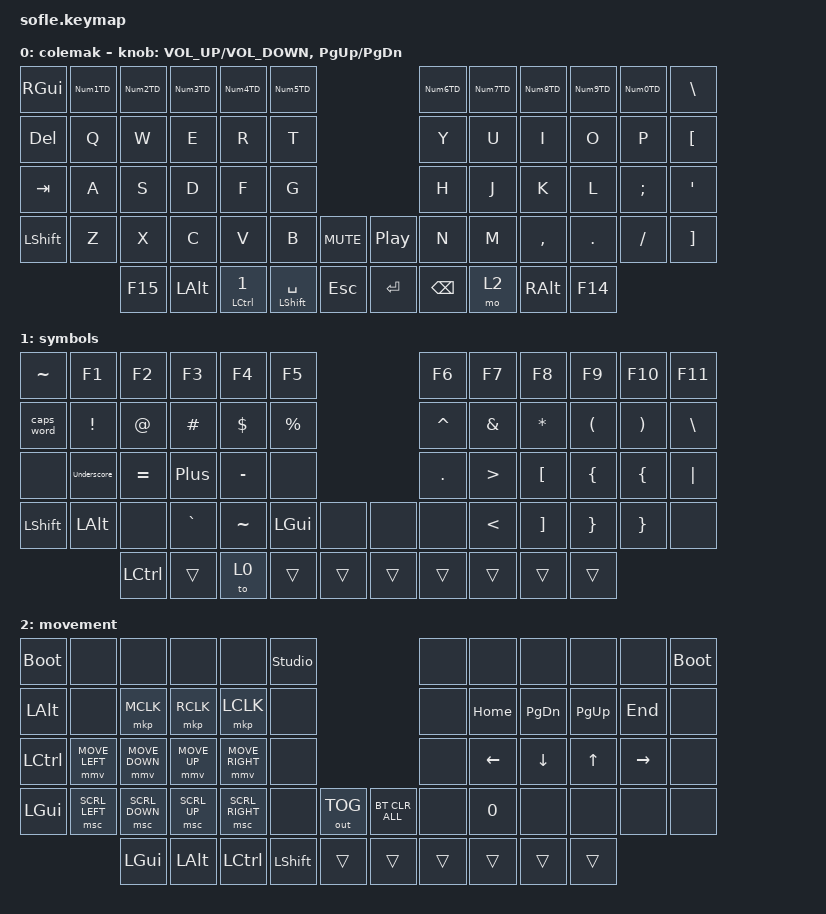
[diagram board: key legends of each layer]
/*
 * Copyright (c) 2020 The ZMK Contributors
 *
 * SPDX-License-Identifier: MIT
 */

#include <behaviors/mouse_keys.dtsi>
#include <behaviors/mouse_move.dtsi>
#include <behaviors/mouse_scroll.dtsi>
#include <behaviors/mouse_key_press.dtsi>
#include <dt-bindings/zmk/mouse.h>
#include <behaviors.dtsi>
#include <dt-bindings/zmk/bt.h>
#include <dt-bindings/zmk/keys.h>
#include <dt-bindings/zmk/outputs.h>
#include <dt-bindings/zmk/pointing.h>
#include <dt-bindings/zmk/pointing.h>
#include <dt-bindings/zmk/pointing.h>

/ {
    behaviors {
        MomentStickyLayer: MomentStickyLayer {
            compatible = "zmk,behavior-hold-tap";
            label = "MOMENTSTICKYLAYER";
            bindings = <&mo>, <&sl>;

            #binding-cells = <2>;
            tapping-term-ms = <100>;
        };

        CopyCutDance: CopyCutDance {
            compatible = "zmk,behavior-tap-dance";
            label = "COPYCUTDANCE";
            #binding-cells = <0>;
            bindings = <&kp LC(C)>, <&kp LC(X)>;

            tapping-term-ms = <185>;
        };

        KeyHoldTapLayer: KeyHoldTapLayer {
            compatible = "zmk,behavior-hold-tap";
            label = "KEYHOLDTAPLAYER";
            bindings = <&kp>, <&SymbolLayerDance>;

            #binding-cells = <2>;
            tapping-term-ms = <200>;
            flavor = "tap-preferred";
        };

        SymbolLayerDance: SymbolLayerDance {
            compatible = "zmk,behavior-tap-dance";
            label = "SYMBOLLAYERDANCE";
            #binding-cells = <0>;
            bindings = <&sl 1>, <&to 1>;

            tapping-term-ms = <300>;
        };

        Num1TD: Num1TD {
            compatible = "zmk,behavior-tap-dance";
            label = "NUM1TD";
            #binding-cells = <0>;
            bindings = <&kp NUMBER_1>, <&kp EXCLAMATION>;

            tapping-term-ms = <175>;
        };

        Num2TD: Num2TD {
            compatible = "zmk,behavior-tap-dance";
            label = "NUM2TD";
            #binding-cells = <0>;
            bindings = <&kp NUMBER_2>, <&kp AT_SIGN>;

            tapping-term-ms = <175>;
        };

        Num3TD: Num3TD {
            compatible = "zmk,behavior-tap-dance";
            label = "NUM3TD";
            #binding-cells = <0>;
            bindings = <&kp NUMBER_3>, <&kp HASH>;

            tapping-term-ms = <175>;
        };

        Num4TD: Num4TD {
            compatible = "zmk,behavior-tap-dance";
            label = "NUM4TD";
            #binding-cells = <0>;
            bindings = <&kp NUMBER_4>, <&kp DOLLAR>;

            tapping-term-ms = <175>;
        };

        Num5TD: Num5TD {
            compatible = "zmk,behavior-tap-dance";
            label = "NUM5TD";
            #binding-cells = <0>;
            bindings = <&kp NUMBER_5>, <&kp PERCENT>;

            tapping-term-ms = <175>;
        };

        Num6TD: Num6TD {
            compatible = "zmk,behavior-tap-dance";
            label = "NUM6TD";
            #binding-cells = <0>;
            bindings = <&kp NUMBER_6>, <&kp CARET>;

            tapping-term-ms = <175>;
        };

        Num7TD: Num7TD {
            compatible = "zmk,behavior-tap-dance";
            label = "NUM7TD";
            #binding-cells = <0>;
            bindings = <&kp NUMBER_7>, <&kp AMPERSAND>;

            tapping-term-ms = <175>;
        };

        Num8TD: Num8TD {
            compatible = "zmk,behavior-tap-dance";
            label = "NUM8TD";
            #binding-cells = <0>;
            bindings = <&kp NUMBER_8>, <&kp ASTERISK>;

            tapping-term-ms = <175>;
        };

        Num9TD: Num9TD {
            compatible = "zmk,behavior-tap-dance";
            label = "NUM9TD";
            #binding-cells = <0>;
            bindings = <&kp NUMBER_9>, <&kp LEFT_PARENTHESIS>;

            tapping-term-ms = <175>;
        };

        Num0TD: Num0TD {
            compatible = "zmk,behavior-tap-dance";
            label = "NUM0TD";
            #binding-cells = <0>;
            bindings = <&kp NUMBER_0>, <&kp RIGHT_PARENTHESIS>;

            tapping-term-ms = <175>;
        };

        ShiftSpaceKey: ShiftSpaceKey {
            compatible = "zmk,behavior-hold-tap";
            label = "SHIFTSPACEKEY";
            bindings = <&kp>, <&kp>;

            #binding-cells = <2>;
            tapping-term-ms = <120>;
            flavor = "hold-preferred";
            hold-while-undecided;
        };
    };

    combos {
        compatible = "zmk,combos";

        dollar {
            bindings = <&kp DOLLAR>;
            key-positions = <>;
            timeout-ms = <200>;
            layers = <0>;
        };

        Escape {
            bindings = <&kp ESCAPE>;
            key-positions = <>;
            layers = <0 1>;
        };

        Delete {
            bindings = <&kp DELETE>;
            key-positions = <32 31>;
            layers = <0 1>;
        };

        Exlamation {
            bindings = <&kp EXCLAMATION>;
            key-positions = <25 26>;
            layers = <0 1>;
            timeout-ms = <220>;
        };

        Paste {
            bindings = <&kp LS(INSERT)>;
            key-positions = <39 40>;
            layers = <0 1>;
        };

        CopyPasteDance {
            bindings = <&CopyCutDance>;
            key-positions = <38 39>;
            layers = <0 1>;
        };
    };

    macros {
        question: question {
            compatible = "zmk,behavior-macro";
            #binding-cells = <0>;
            bindings = <&kp QMARK>;
            label = "QUESTION";
        };

        Plus: Plus {
            compatible = "zmk,behavior-macro";
            #binding-cells = <0>;
            bindings = <&kp PLUS>;
            label = "PLUS";
        };

        Underscore: Underscore {
            compatible = "zmk,behavior-macro";
            #binding-cells = <0>;
            bindings = <&kp UNDER>;
            label = "UNDERSCORE";
        };
    };

    keymap {
        compatible = "zmk,keymap";

        colemak {
            bindings = <
&kp RIGHT_GUI   &Num1TD  &Num2TD  &Num3TD       &Num4TD                   &Num5TD                                                          &Num6TD        &Num7TD  &Num8TD        &Num9TD     &Num0TD        &kp BACKSLASH
&kp DELETE      &kp Q    &kp W    &kp E         &kp R                     &kp T                                                            &kp Y          &kp U    &kp I          &kp O       &kp P          &kp LEFT_BRACKET
&kp TAB         &kp A    &kp S    &kp D         &kp F                     &kp G                                                            &kp H          &kp J    &kp K          &kp L       &kp SEMICOLON  &kp SQT
&kp LEFT_SHIFT  &kp Z    &kp X    &kp C         &kp V                     &kp B                            &kp C_MUTE    &kp C_PLAY_PAUSE  &kp N          &kp M    &kp COMMA      &kp PERIOD  &kp SLASH      &kp RIGHT_BRACKET
                         &kp F15  &kp LEFT_ALT  &KeyHoldTapLayer LCTRL 1  &ShiftSpaceKey LEFT_SHIFT SPACE  &kp ESCAPE    &kp ENTER         &kp BACKSPACE  &mo 2    &kp RIGHT_ALT  &kp F14
            >;

            sensor-bindings =
                <&inc_dec_kp C_VOLUME_UP C_VOLUME_DOWN>,
                <&inc_dec_kp PAGE_UP PAGE_DOWN>;
        };

        symbols {
            bindings = <
&kp TILDE       &kp F1           &kp F2       &kp F3     &kp F4      &kp F5                          &kp F6      &kp F7            &kp F8             &kp F9                &kp F10                &kp F11
&caps_word      &kp EXCLAMATION  &kp AT_SIGN  &kp HASH   &kp DOLLAR  &kp PERCENT                     &kp CARET   &kp AMPERSAND     &kp ASTERISK       &kp LEFT_PARENTHESIS  &kp RIGHT_PARENTHESIS  &kp BACKSLASH
&none           &Underscore      &kp EQUAL    &Plus      &kp MINUS   &none                           &kp PERIOD  &kp GREATER_THAN  &kp LEFT_BRACKET   &kp LEFT_BRACE        &kp LEFT_BRACE         &kp PIPE
&kp LEFT_SHIFT  &kp LEFT_ALT     &none        &kp GRAVE  &kp TILDE   &kp LEFT_GUI  &none     &none   &none       &kp LESS_THAN     &kp RIGHT_BRACKET  &kp RIGHT_BRACE       &kp RIGHT_BRACE        &none
                                 &kp LCTRL    &trans     &to 0       &trans        &trans    &trans  &trans      &trans            &trans             &trans
            >;
        };

        movement {
            bindings = <
&bootloader   &none           &none           &none         &none             &studio_unlock                                  &none   &none     &none           &none         &none            &bootloader
&kp LEFT_ALT  &none           &mkp MCLK       &mkp RCLK     &mkp LCLK         &none                                           &none   &kp HOME  &kp PAGE_DOWN   &kp PAGE_UP   &kp END          &none
&kp LCTRL     &mmv MOVE_LEFT  &mmv MOVE_DOWN  &mmv MOVE_UP  &mmv MOVE_RIGHT   &none                                           &none   &kp LEFT  &kp DOWN_ARROW  &kp UP_ARROW  &kp RIGHT_ARROW  &none
&kp LEFT_GUI  &msc SCRL_LEFT  &msc SCRL_DOWN  &msc SCRL_UP  &msc SCRL_RIGHT   &none           &out OUT_TOG    &bt BT_CLR_ALL  &none   &kp N0    &none           &none         &none            &none
                              &kp LGUI        &kp LEFT_ALT  &kp LEFT_CONTROL  &kp LEFT_SHIFT  &trans          &trans          &trans  &trans    &trans          &trans
            >;
        };
    };
};

/ {
    sensors {
        compatible = "zmk,keymap-sensors";
        sensors = <&left_encoder &right_encoder>;
    };
};

&left_encoder { status = "okay"; };

&right_encoder { status = "okay"; };

&led_strip {
    chain-length = <72>;    // Укажите общее количество светодиодов
};

/ {
    chosen { zmk,underglow = &led_strip; };
};

/ {
    conditional_layers { compatible = "zmk,conditional-layers"; };
};

/ {
    widgets {
        layer_status: layer_status { compatible = "zmk,widget-layer-status"; };

        battery_status: battery_status { compatible = "zmk,widget-battery-status"; };

        output_status: output_status { compatible = "zmk,widget-output-status"; };
    };
};

/ {
    chosen { zephyr,display = &oled; };
};
